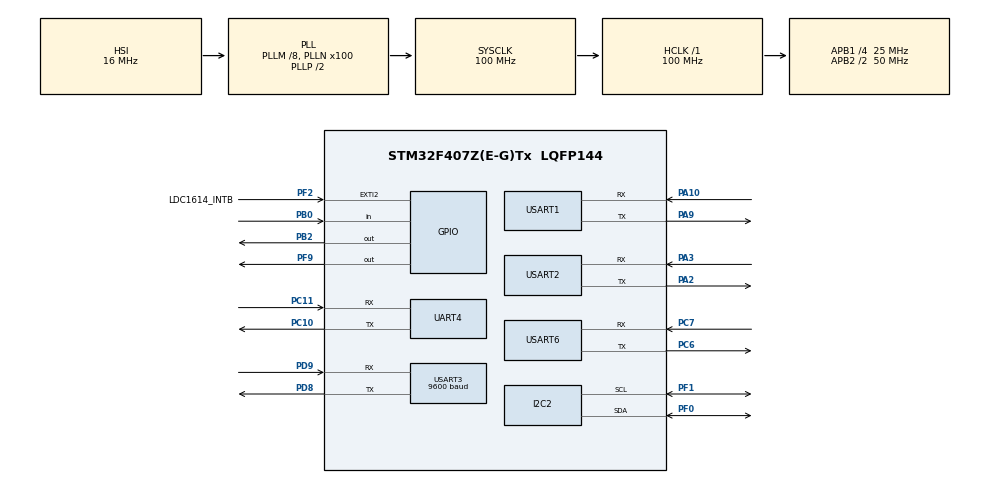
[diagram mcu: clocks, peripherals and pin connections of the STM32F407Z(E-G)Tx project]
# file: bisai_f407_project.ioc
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Dma.I2C2_RX.4.Direction=DMA_PERIPH_TO_MEMORY
Dma.I2C2_RX.4.FIFOMode=DMA_FIFOMODE_DISABLE
Dma.I2C2_RX.4.Instance=DMA1_Stream3
Dma.I2C2_RX.4.MemDataAlignment=DMA_MDATAALIGN_BYTE
Dma.I2C2_RX.4.MemInc=DMA_MINC_ENABLE
Dma.I2C2_RX.4.Mode=DMA_NORMAL
Dma.I2C2_RX.4.PeriphDataAlignment=DMA_PDATAALIGN_BYTE
Dma.I2C2_RX.4.PeriphInc=DMA_PINC_DISABLE
Dma.I2C2_RX.4.Priority=DMA_PRIORITY_HIGH
Dma.I2C2_TX.3.Direction=DMA_MEMORY_TO_PERIPH
Dma.I2C2_TX.3.FIFOMode=DMA_FIFOMODE_DISABLE
Dma.I2C2_TX.3.Instance=DMA1_Stream7
Dma.I2C2_TX.3.MemDataAlignment=DMA_MDATAALIGN_BYTE
Dma.I2C2_TX.3.MemInc=DMA_MINC_ENABLE
Dma.I2C2_TX.3.Mode=DMA_NORMAL
Dma.I2C2_TX.3.PeriphDataAlignment=DMA_PDATAALIGN_BYTE
Dma.I2C2_TX.3.PeriphInc=DMA_PINC_DISABLE
Dma.I2C2_TX.3.Priority=DMA_PRIORITY_HIGH
Dma.Request0=USART1_RX
Dma.Request1=USART3_RX
Dma.Request2=USART6_RX
Dma.Request3=I2C2_TX
Dma.Request4=I2C2_RX
Dma.Request5=UART4_RX
Dma.Request6=USART2_RX
Dma.UART4_RX.5.Direction=DMA_PERIPH_TO_MEMORY
Dma.UART4_RX.5.FIFOMode=DMA_FIFOMODE_DISABLE
Dma.UART4_RX.5.Instance=DMA1_Stream2
Dma.UART4_RX.5.MemDataAlignment=DMA_MDATAALIGN_BYTE
Dma.UART4_RX.5.MemInc=DMA_MINC_ENABLE
Dma.UART4_RX.5.Mode=DMA_NORMAL
Dma.UART4_RX.5.PeriphDataAlignment=DMA_PDATAALIGN_BYTE
Dma.UART4_RX.5.PeriphInc=DMA_PINC_DISABLE
Dma.UART4_RX.5.Priority=DMA_PRIORITY_HIGH
Dma.USART1_RX.0.Direction=DMA_PERIPH_TO_MEMORY
Dma.USART1_RX.0.FIFOMode=DMA_FIFOMODE_DISABLE
Dma.USART1_RX.0.Instance=DMA2_Stream2
Dma.USART1_RX.0.MemDataAlignment=DMA_MDATAALIGN_BYTE
Dma.USART1_RX.0.MemInc=DMA_MINC_ENABLE
Dma.USART1_RX.0.Mode=DMA_NORMAL
Dma.USART1_RX.0.PeriphDataAlignment=DMA_PDATAALIGN_BYTE
Dma.USART1_RX.0.PeriphInc=DMA_PINC_DISABLE
Dma.USART1_RX.0.Priority=DMA_PRIORITY_HIGH
Dma.USART2_RX.6.Direction=DMA_PERIPH_TO_MEMORY
Dma.USART2_RX.6.FIFOMode=DMA_FIFOMODE_DISABLE
Dma.USART2_RX.6.Instance=DMA1_Stream5
Dma.USART2_RX.6.MemDataAlignment=DMA_MDATAALIGN_BYTE
Dma.USART2_RX.6.MemInc=DMA_MINC_ENABLE
Dma.USART2_RX.6.Mode=DMA_NORMAL
Dma.USART2_RX.6.PeriphDataAlignment=DMA_PDATAALIGN_BYTE
Dma.USART2_RX.6.PeriphInc=DMA_PINC_DISABLE
Dma.USART2_RX.6.Priority=DMA_PRIORITY_HIGH
Dma.USART3_RX.1.Direction=DMA_PERIPH_TO_MEMORY
Dma.USART3_RX.1.FIFOMode=DMA_FIFOMODE_DISABLE
Dma.USART3_RX.1.Instance=DMA1_Stream1
Dma.USART3_RX.1.MemDataAlignment=DMA_MDATAALIGN_BYTE
Dma.USART3_RX.1.MemInc=DMA_MINC_ENABLE
Dma.USART3_RX.1.Mode=DMA_NORMAL
Dma.USART3_RX.1.PeriphDataAlignment=DMA_PDATAALIGN_BYTE
Dma.USART3_RX.1.PeriphInc=DMA_PINC_DISABLE
Dma.USART3_RX.1.Priority=DMA_PRIORITY_HIGH
Dma.USART6_RX.2.Direction=DMA_PERIPH_TO_MEMORY
Dma.USART6_RX.2.FIFOMode=DMA_FIFOMODE_DISABLE
Dma.USART6_RX.2.Instance=DMA2_Stream1
Dma.USART6_RX.2.MemDataAlignment=DMA_MDATAALIGN_BYTE
Dma.USART6_RX.2.MemInc=DMA_MINC_ENABLE
Dma.USART6_RX.2.Mode=DMA_NORMAL
Dma.USART6_RX.2.PeriphDataAlignment=DMA_PDATAALIGN_BYTE
Dma.USART6_RX.2.PeriphInc=DMA_PINC_DISABLE
Dma.USART6_RX.2.Priority=DMA_PRIORITY_HIGH
FREERTOS.Tasks01=defaultTask,24,128,StartDefaultTask,Default,NULL,Dynamic,NULL,NULL;ldc1614Task,16,256,StartLdc1614Task,Default,NULL,Dynamic,NULL,NULL
Mcu.Family=STM32F4
Mcu.Name=STM32F407Z(E-G)Tx
Mcu.Package=LQFP144
NVIC.DMA1_Stream1_IRQn=true\:5\:0\:false\:false\:true\:true\:false\:true\:true
NVIC.DMA1_Stream2_IRQn=true\:5\:0\:false\:false\:true\:true\:false\:true\:true
NVIC.DMA1_Stream3_IRQn=true\:5\:0\:false\:false\:true\:false\:false\:true\:true
NVIC.DMA1_Stream5_IRQn=true\:5\:0\:false\:false\:true\:true\:false\:true\:true
NVIC.DMA1_Stream7_IRQn=true\:5\:0\:false\:false\:true\:true\:false\:true\:true
NVIC.DMA2_Stream1_IRQn=true\:5\:0\:false\:false\:true\:true\:false\:true\:true
NVIC.DMA2_Stream2_IRQn=true\:5\:0\:false\:false\:true\:true\:false\:true\:true
NVIC.EXTI2_IRQn=true\:5\:0\:false\:false\:true\:true\:true\:true\:true
NVIC.I2C2_ER_IRQn=true\:5\:0\:false\:false\:true\:true\:true\:true\:true
NVIC.I2C2_EV_IRQn=true\:5\:0\:false\:false\:true\:true\:true\:true\:true
NVIC.PriorityGroup=NVIC_PRIORITYGROUP_4
NVIC.TIM6_DAC_IRQn=true\:15\:0\:false\:false\:true\:false\:false\:true\:true
NVIC.TimeBase=TIM6_DAC_IRQn
NVIC.TimeBaseIP=TIM6
NVIC.UART4_IRQn=true\:5\:0\:false\:false\:true\:true\:true\:true\:true
NVIC.USART1_IRQn=true\:5\:0\:false\:false\:true\:true\:true\:true\:true
NVIC.USART2_IRQn=true\:5\:0\:false\:false\:true\:true\:true\:true\:true
NVIC.USART3_IRQn=true\:5\:0\:false\:false\:true\:true\:true\:true\:true
NVIC.USART6_IRQn=true\:5\:0\:false\:false\:true\:true\:true\:true\:true
PA10.Mode=Asynchronous
PA10.Signal=USART1_RX
PA13.Mode=Serial_Wire
PA13.Signal=SYS_JTMS-SWDIO
PA14.Mode=Serial_Wire
PA14.Signal=SYS_JTCK-SWCLK
PA2.Mode=Asynchronous
PA2.Signal=USART2_TX
PA3.Mode=Asynchronous
PA3.Signal=USART2_RX
PA9.Mode=Asynchronous
PA9.Signal=USART1_TX
PB0.Signal=GPIO_Input
PB2.Signal=GPIO_Output
PC10.Mode=Asynchronous
PC10.Signal=UART4_TX
PC11.Mode=Asynchronous
PC11.Signal=UART4_RX
PC6.Mode=Asynchronous
PC6.Signal=USART6_TX
PC7.Mode=Asynchronous
PC7.Signal=USART6_RX
PD8.Mode=Asynchronous
PD8.Signal=USART3_TX
PD9.Mode=Asynchronous
PD9.Signal=USART3_RX
PF0.GPIO_Pu=GPIO_PULLUP
PF0.Mode=I2C
PF0.Signal=I2C2_SDA
PF1.GPIO_Pu=GPIO_PULLUP
PF1.Mode=I2C
PF1.Signal=I2C2_SCL
PF2.GPIO_Label=LDC1614_INTB
PF2.GPIO_ModeDefaultEXTI=GPIO_MODE_IT_FALLING
PF2.GPIO_PuPd=GPIO_PULLUP
PF2.Signal=GPXTI2
PF9.PinState=GPIO_PIN_SET
PF9.Signal=GPIO_Output
PH0-OSC_IN.Mode=HSE-External-Oscillator
PH0-OSC_IN.Signal=RCC_OSC_IN
PH1-OSC_OUT.Mode=HSE-External-Oscillator
PH1-OSC_OUT.Signal=RCC_OSC_OUT
ProjectManager.HeapSize=0x200
ProjectManager.StackSize=0x400
ProjectManager.TargetToolchain=MDK-ARM V5.32
RCC.48MHZClocksFreq_Value=50000000
RCC.AHBFreq_Value=100000000
RCC.APB1CLKDivider=RCC_HCLK_DIV4
RCC.APB1Freq_Value=25000000
RCC.APB1TimFreq_Value=50000000
RCC.APB2CLKDivider=RCC_HCLK_DIV2
RCC.APB2Freq_Value=50000000
RCC.APB2TimFreq_Value=100000000
RCC.CortexFreq_Value=100000000
RCC.HCLKFreq_Value=100000000
RCC.HSE_VALUE=25000000
RCC.HSI_VALUE=16000000
RCC.LSE_VALUE=32768
RCC.PLLM=8
RCC.PLLN=100
RCC.SYSCLKFreq_VALUE=100000000
RCC.SYSCLKSource=RCC_SYSCLKSOURCE_PLLCLK
RCC.VCOOutputFreq_Value=200000000
UART4.VirtualMode=Asynchronous
USART1.VirtualMode=VM_ASYNC
USART2.VirtualMode=VM_ASYNC
USART3.BaudRate=9600
USART3.VirtualMode=VM_ASYNC
USART6.VirtualMode=VM_ASYNC
VP_FREERTOS_VS_CMSIS_V2.Mode=CMSIS_V2
VP_SYS_VS_tim6.Mode=TIM6
board=custom

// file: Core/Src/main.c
/* USER CODE BEGIN Header */
/**
  ******************************************************************************
  * @file           : main.c
  * @brief          : Main program body
  ******************************************************************************
  * @attention
  *
  * Copyright (c) 2026 STMicroelectronics.
  * All rights reserved.
  *
  * This software is licensed under terms that can be found in the LICENSE file
  * in the root directory of this software component.
  * If no LICENSE file comes with this software, it is provided AS-IS.
  *
  ******************************************************************************
  */
/* USER CODE END Header */
#include "main.h"
#include "cmsis_os.h"
#include "dma.h"
#include "i2c.h"
#include "usart.h"
#include "gpio.h"

void SystemClock_Config(void);
void MX_FREERTOS_Init(void);

int main(void)
{

  /* MCU Configuration--------------------------------------------------------*/

  /* Reset of all peripherals, Initializes the Flash interface and the Systick. */
  HAL_Init();

  /* Configure the system clock */
  SystemClock_Config();

  /* Initialize all configured peripherals */
  MX_GPIO_Init();
  MX_DMA_Init();
  MX_I2C2_Init();
  MX_USART2_UART_Init();
  MX_USART1_UART_Init();
  MX_USART3_UART_Init();
  MX_USART6_UART_Init();
  MX_UART4_Init();

  /* Init scheduler */
  osKernelInitialize();  /* Call init function for freertos objects (in cmsis_os2.c) */
  MX_FREERTOS_Init();

  /* Start scheduler */
  osKernelStart();

  /* We should never get here as control is now taken by the scheduler */

  /* Infinite loop */
  while (1)
  {

  }
}

void SystemClock_Config(void)
{
  RCC_OscInitTypeDef RCC_OscInitStruct = {0};
  RCC_ClkInitTypeDef RCC_ClkInitStruct = {0};

  /** Configure the main internal regulator output voltage
  */
  __HAL_RCC_PWR_CLK_ENABLE();
  __HAL_PWR_VOLTAGESCALING_CONFIG(PWR_REGULATOR_VOLTAGE_SCALE1);

  /** Initializes the RCC Oscillators according to the specified parameters
  * in the RCC_OscInitTypeDef structure.
  */
  RCC_OscInitStruct.OscillatorType = RCC_OSCILLATORTYPE_HSI;
  RCC_OscInitStruct.HSIState = RCC_HSI_ON;
  RCC_OscInitStruct.HSICalibrationValue = RCC_HSICALIBRATION_DEFAULT;
  RCC_OscInitStruct.PLL.PLLState = RCC_PLL_ON;
  RCC_OscInitStruct.PLL.PLLSource = RCC_PLLSOURCE_HSI;
  RCC_OscInitStruct.PLL.PLLM = 8;
  RCC_OscInitStruct.PLL.PLLN = 100;
  RCC_OscInitStruct.PLL.PLLP = RCC_PLLP_DIV2;
  RCC_OscInitStruct.PLL.PLLQ = 4;
  if (HAL_RCC_OscConfig(&RCC_OscInitStruct) != HAL_OK)
  {
    Error_Handler();
  }

  /** Initializes the CPU, AHB and APB buses clocks
  */
  RCC_ClkInitStruct.ClockType = RCC_CLOCKTYPE_HCLK|RCC_CLOCKTYPE_SYSCLK
                              |RCC_CLOCKTYPE_PCLK1|RCC_CLOCKTYPE_PCLK2;
  RCC_ClkInitStruct.SYSCLKSource = RCC_SYSCLKSOURCE_PLLCLK;
  RCC_ClkInitStruct.AHBCLKDivider = RCC_SYSCLK_DIV1;
  RCC_ClkInitStruct.APB1CLKDivider = RCC_HCLK_DIV4;
  RCC_ClkInitStruct.APB2CLKDivider = RCC_HCLK_DIV2;

  if (HAL_RCC_ClockConfig(&RCC_ClkInitStruct, FLASH_LATENCY_3) != HAL_OK)
  {
    Error_Handler();
  }
}

void HAL_TIM_PeriodElapsedCallback(TIM_HandleTypeDef *htim)
{
  if (htim->Instance == TIM6)
  {
    HAL_IncTick();
  }
}

void Error_Handler(void)
{
  __disable_irq();
  while (1)
  {
  }
}

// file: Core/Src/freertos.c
/* USER CODE BEGIN Header */
/**
  ******************************************************************************
  * File Name          : freertos.c
  * Description        : Code for freertos applications
  ******************************************************************************
  * @attention
  *
  * Copyright (c) 2026 STMicroelectronics.
  * All rights reserved.
  *
  * This software is licensed under terms that can be found in the LICENSE file
  * in the root directory of this software component.
  * If no LICENSE file comes with this software, it is provided AS-IS.
  *
  ******************************************************************************
  */
/* USER CODE END Header */

#include "FreeRTOS.h"
#include "task.h"
#include "main.h"
#include "cmsis_os.h"

/* USER CODE BEGIN Includes */
#include "camera_motor_service.h"
#include "conveyor_motor_service.h"
#include "fill_light_service.h"
#include "ldc1614_service.h"
#include "robot_arm_service.h"
#include "system_heartbeat_service.h"
#include "weight_service.h"
#include "usart.h"

/* USER CODE END Includes */

/* USER CODE BEGIN Variables */
/* 传送带电机任务句柄保留在用户区，避免后续 CubeMX 重新生成时被覆盖。 */
static osThreadId_t conveyorMotorTaskHandle = NULL;

/* 传送带电机任务需要周期性闭环调速，优先级保持在普通业务级。 */
static const osThreadAttr_t conveyorMotorTask_attributes = {
  .name = "conveyorMotorTask",             /* 任务名称用于 RTOS 调试视图识别传送带电机服务线程。 */
  .stack_size = 320 * 4,                   /* 电机任务会经过 Emm42 状态机、串口发送和日志路径，扩到 320 word 减少边界场景栈压缩。 */
  .priority = (osPriority_t) osPriorityNormal, /* 普通优先级保证电机控制能及时运行，同时不压制更高实时性采样任务。 */
};

/* 摄像头运动电机任务句柄保留在用户区，负责 USART6 上两个 Emm42 电机的串行控制。 */
static osThreadId_t cameraMotorTaskHandle = NULL;

/* 摄像头运动电机任务只响应点动/停止命令，优先级保持在普通业务级，避免阻塞称重和 LDC 采样。 */
static const osThreadAttr_t cameraMotorTask_attributes = {
  .name = "cameraMotorTask",               /* 任务名称用于 RTOS 调试视图识别摄像头运动电机服务线程。 */
  .stack_size = 320 * 4,                   /* 摄像头电机任务同样会经过双电机控制和日志路径，扩到 320 word 给后续调试留余量。 */
  .priority = (osPriority_t) osPriorityNormal, /* 普通优先级保证点动命令能及时执行，同时不压制更高实时性采样任务。 */
};

/* 补光舵机任务句柄保留在用户区，负责 PB6/TIM4_CH1 的串行开灯和关灯动作。 */
static osThreadId_t fillLightTaskHandle = NULL;

/* 补光任务只等待短队列并保持 PWM 2 秒，普通优先级可保证动作及时且不抢占采样任务。 */
static const osThreadAttr_t fillLightTask_attributes = {
  .name = "fillLightTask",                 /* 任务名称用于 RTOS 调试视图定位补光舵机线程。 */
  .stack_size = 192 * 4,                    /* 调用 HAL PWM、延时和事件打包，192 word 为当前调用链留出余量。 */
  .priority = (osPriority_t) osPriorityNormal, /* 普通优先级与其它执行器服务一致。 */
};

/* 心跳灯任务句柄保留在用户区，避免后续 CubeMX 重新生成时被覆盖。 */
static osThreadId_t heartbeatTaskHandle = NULL;

/* 心跳灯任务使用低优先级，便于观察系统调度是否被高优先级任务长期占用。 */
static const osThreadAttr_t heartbeatTask_attributes = {
  .name = "heartbeatTask",                 /* 任务名称用于调试器中定位系统心跳线程。 */
  .stack_size = 128 * 4,                   /* 心跳任务只翻转状态和延时等待，较小栈即可满足当前调用链。 */
  .priority = (osPriority_t) osPriorityLow, /* 低优先级避免心跳显示影响称重、LDC 检测和电机控制等业务任务。 */
};

/* 机械臂转发任务句柄保留在用户区，负责把 USART2 主链路触发的机械臂动作异步转发到 USART3。 */
static osThreadId_t robotArmTaskHandle = NULL;

/* 机械臂转发任务只处理短帧队列和 USART3 阻塞发送，USART3 当前按 115200 8N1 对接 ESP32 PA5/PA4 串口。 */
/* 栈和优先级保持在普通业务任务级别，避免机械臂短帧转发影响称重、电感检测等更高实时性路径。 */
static const osThreadAttr_t robotArmTask_attributes = {
  .name = "robotArmTask",                  /* 任务名称用于 RTOS 调试视图中识别机械臂 USART2->USART3 转发线程。 */
  .stack_size = 512 * 4,                   /* 机械臂任务会叠加 ACK/DONE 帧缓存、称重结果打包和日志调用链，扩到 512 word 规避栈踩踏。 */
  .priority = (osPriority_t) osPriorityNormal, /* 普通优先级保证机械臂命令及时转发，同时不压制更高实时性采样或中断回调。 */
};

/* USER CODE END Variables */
/* Definitions for defaultTask */
osThreadId_t defaultTaskHandle;
const osThreadAttr_t defaultTask_attributes = {
  .name = "defaultTask",
  .stack_size = 256 * 4,
  .priority = (osPriority_t) osPriorityNormal,
};
/* Definitions for ldc1614Task */
osThreadId_t ldc1614TaskHandle;
const osThreadAttr_t ldc1614Task_attributes = {
  .name = "ldc1614Task",
  .stack_size = 320 * 4,
  .priority = (osPriority_t) osPriorityBelowNormal,
};

void StartDefaultTask(void *argument);
void StartLdc1614Task(void *argument);

void MX_FREERTOS_Init(void); /* (MISRA C 2004 rule 8.1) */

void MX_FREERTOS_Init(void) {

  /* Create the thread(s) */
  /* creation of defaultTask */
  defaultTaskHandle = osThreadNew(StartDefaultTask, NULL, &defaultTask_attributes);

  /* creation of ldc1614Task */
  ldc1614TaskHandle = osThreadNew(StartLdc1614Task, NULL, &ldc1614Task_attributes);

  /* USER CODE BEGIN RTOS_THREADS */
  /* 传送带电机任务独立创建在用户区，负责 Emm42 的串口控制与状态机推进。 */
  conveyorMotorTaskHandle = osThreadNew(ConveyorMotorService_Task, NULL, &conveyorMotorTask_attributes);
  if (conveyorMotorTaskHandle == NULL)
  {
    /*
     * 传送带任务属于关键业务任务。
     * 若这里创建失败，后续串口命令虽然还能收发，但电机功能不会真正运行，
     * 因此直接进入统一错误处理，避免系统带着“半残状态”继续启动。
     */
    Error_Handler();
  }

  /* 摄像头运动电机任务独立创建，负责 USART6 PC6/PC7 上地址 0x02 和 0x03 两个 Emm42 电机。 */
  cameraMotorTaskHandle = osThreadNew(CameraMotorService_Task, NULL, &cameraMotorTask_attributes);
  if (cameraMotorTaskHandle == NULL)
  {
    /*
     * 摄像头电机任务创建失败时，后续 `CAMFWD/CAMZ/CAMSTOP` 命令无法执行，
     * 自动视觉微调也无法工作，因此按关键业务任务失败处理。
     */
    Error_Handler();
  }

  /* 先创建补光命令队列并配置 PB6/TIM4_CH1，再启动任务，避免协议早到时队列尚未就绪。 */
  if (FillLightService_Init() == 0U)
  {
    /*
     * 初始化失败意味着 FreeRTOS 队列不足或 TIM4/PB6 配置失败。
     * 此时自动流程无法确认补光灯状态，因此进入统一错误处理，不允许带故障继续检测。
     */
    Error_Handler();
  }

  /* 补光任务独占 PWM 动作的 2 秒保持等待，协议接收线程不会被舵机时序阻塞。 */
  fillLightTaskHandle = osThreadNew(FillLightService_Task, NULL, &fillLightTask_attributes);
  if (fillLightTaskHandle == NULL)
  {
    /* 任务创建失败后队列虽存在但无人消费，继续运行只会让 MP157 等待完成事件超时。 */
    Error_Handler();
  }

  /* 心跳灯任务独立创建在用户区，后续重新生成 freertos.c 时不会被 CubeMX 覆盖。 */
  heartbeatTaskHandle = osThreadNew(SystemHeartbeatService_Task, NULL, &heartbeatTask_attributes);
  if (heartbeatTaskHandle == NULL)
  {
    /*
     * 心跳灯任务本身不参与业务控制，
     * 但它承担“调度器是否活着”的现场可视化观察职责。
     * 如果这里都创建失败，说明当前系统资源已经异常，仍然按致命错误处理。
     */
    Error_Handler();
  }

  /* 机械臂服务先创建队列，再启动转发任务，确保 USART2 主链路触发机械臂动作后有可投递的目标。 */
  if (RobotArmService_Init() == 0U)
  {
    /*
     * 机械臂队列创建失败说明 FreeRTOS 堆空间不足。
     * 此时即使 USART2 还能收到命令，也无法安全异步转发到 USART3，因此直接进入统一错误处理。
     */
    Error_Handler();
  }

  robotArmTaskHandle = osThreadNew(RobotArmService_Task, NULL, &robotArmTask_attributes);
  if (robotArmTaskHandle == NULL)
  {
    /*
     * 机械臂转发任务是 STM32 与 ESP32 机械臂控制链路的执行端。
     * 若任务创建失败，机械臂命令会停留在队列中无法发送，所以按关键业务任务失败处理。
     */
    Error_Handler();
  }
  /* USER CODE END RTOS_THREADS */

}

/* USER CODE BEGIN Header_StartDefaultTask */
/**
  * @brief  默认任务入口，当前把调度器线程转接到称重服务主循环。
  * @param  argument CMSIS-RTOS 创建任务时传入的用户参数，当前原样传给 WeightService_Task。
  * @retval None 任务入口不返回；称重服务内部负责持续运行或自行处理异常。
  *
  * 主要流程：
  * 1. 接收 RTOS 传入的任务参数；
  * 2. 立即调用 WeightService_Task，把实际业务保持在 User/App 模块中；
  * 3. 本函数不直接访问硬件资源，避免生成文件承载业务状态。
  */
/* USER CODE END Header_StartDefaultTask */
void StartDefaultTask(void *argument)
{
  /* USER CODE BEGIN StartDefaultTask */
  /* 将默认任务接到用户应用层任务，避免把业务逻辑继续堆在生成文件里。 */
  WeightService_Task(argument);
  /* USER CODE END StartDefaultTask */
}

/* USER CODE BEGIN Header_StartLdc1614Task */
/**
  * @brief  LDC1614 检测任务入口，负责把 RTOS 线程转接到电感检测服务。
  * @param  argument CMSIS-RTOS 创建任务时传入的用户参数，当前原样传给 Ldc1614Service_Task。
  * @retval None 任务入口不返回；LDC 服务内部负责周期采样、状态机和错误处理。
  *
  * 主要流程：
  * 1. 接收 RTOS 传入的任务参数；
  * 2. 调用 Ldc1614Service_Task 进入独立检测循环；
  * 3. 通过独立任务隔离称重、电机和电感检测的调度职责。
  */
/* USER CODE END Header_StartLdc1614Task */
void StartLdc1614Task(void *argument)
{
  /* USER CODE BEGIN StartLdc1614Task */
  /* 电感检测任务独立运行，避免和称重主循环耦合在同一个线程里。 */
  Ldc1614Service_Task(argument);
  /* USER CODE END StartLdc1614Task */
}

/* USER CODE BEGIN Application */

/**
  * @brief FreeRTOS 检测到任务栈越界时的致命故障钩子。
  * @param xTask 发生栈越界的任务句柄；故障现场不再解引用，避免访问已损坏对象。
  * @param pcTaskName 发生栈越界的任务名称；故障现场不格式化输出，避免继续消耗栈。
  * @retval None 本函数发送固定诊断字节后关闭中断并停机，不返回调度器。
  *
  * 设计原因：栈已经损坏时不能安全调用 printf、互斥锁或复杂协议发送，
  * 因此仅使用非 MP157 主链路的 USART2 轮询发送固定英文标记，
  * 现场看到 `F4 STACK OVERFLOW` 即可确认资源根因，同时避免污染 USART1 二进制主链路。
  */
void vApplicationStackOverflowHook(TaskHandle_t xTask, char *pcTaskName)
{
  static const uint8_t message[] = "\r\n[FATAL] F4 STACK OVERFLOW\r\n";

  (void)xTask;
  (void)pcTaskName;
  (void)HAL_UART_Transmit(&huart2,
                          (uint8_t *)message,
                          (uint16_t)(sizeof(message) - 1U),
                          100U);
  __disable_irq();
  for (;;)
  {
    /* 保持停机，避免栈损坏后继续执行电机控制产生不可预测动作。 */
  }
}

/**
  * @brief FreeRTOS 动态内存申请失败时的致命故障钩子。
  * @retval None 本函数发送固定诊断字节后关闭中断并停机，不返回调度器。
  *
  * 队列、信号量或任务创建时若 heap_4 空间不足会进入这里，
  * USART2 固定标记用于区分“队列投递逻辑问题”和“真正的 FreeRTOS 堆耗尽”，
  * USART1 继续保持 MP157 二进制主链路，不直接输出致命文本。
  */
void vApplicationMallocFailedHook(void)
{
  static const uint8_t message[] = "\r\n[FATAL] F4 MALLOC FAILED\r\n";

  (void)HAL_UART_Transmit(&huart2,
                          (uint8_t *)message,
                          (uint16_t)(sizeof(message) - 1U),
                          100U);
  __disable_irq();
  for (;;)
  {
    /* 保持停机，避免关键任务或队列创建失败后系统继续处于半工作状态。 */
  }
}

/* USER CODE END Application */
